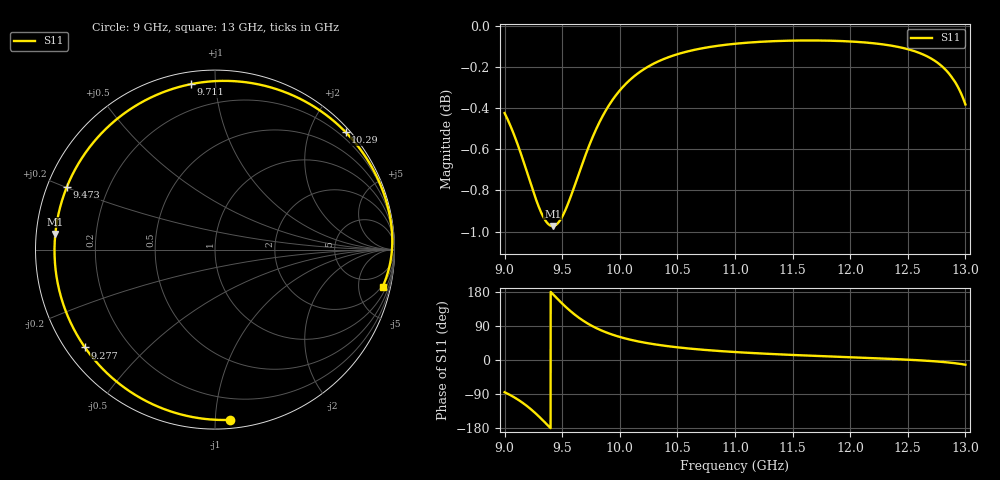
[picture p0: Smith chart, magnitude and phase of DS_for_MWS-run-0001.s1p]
! TOUCHSTONE file generated by CST DESIGN STUDIO
! Date and time: Tue Feb  4 13:34:31 2025
! Project name: C:\Work\MatlabApps\UnitCellOptimizationMatlab\CST\unitcell.cst
! Tree item: Tasks\Sweep1\SPara1\S-Parameters
! Header version: 2024
! Port assignment regex: !\s*Touchstone port\s*([0-9]+)\s*=\s*(CST MWS port|CST DES external port|CST DES block port)\s*(.+)\s* \(\"(.*)\"\)(\s*mode\s*([0-9]+))?.*
! Touchstone port assignment:
! Touchstone port 1 = CST DES external port 1 ("")
# GHz S MA R 50
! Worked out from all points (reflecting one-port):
!   4001 points, 9 GHz to 13 GHz, reference 50 ohm
!   lowest |S11| = -1.0 dB at 9.417 GHz (marker M1), VSWR 17.86, Z = 2.81 + j2.45 ohm
!   phase of S11 starts at -85 deg and turns -287 deg over the sweep
!   S11 on the Smith chart (normalised r, x): 9 GHz: 0.05, -1.09; 9.277 GHz: 0.05, -0.33; 9.473 GHz: 0.06, +0.20; 9.711 GHz: 0.06, +0.86; 10.29 GHz: 0.08, +2.60; 13 GHz: 1.80, -8.80
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9  0.9523 -85.0
9.082  0.9408 -98.2
9.151  0.9292 -111.7
9.215  0.9175 -126.6
9.277  0.9067 -143.1
9.35  0.8971 -164.7
9.384  0.8947 -175.3
9.417  0.894 174.4
9.473  0.8962 157.0
9.5  0.8987 148.9
9.551  0.9053 134.5
9.601  0.9133 121.7
9.654  0.9222 109.5
9.711  0.9316 98.2
9.774  0.941 87.5
9.85  0.9506 76.7
9.922  0.958 68.3
10  0.9645 60.8
10.133  0.9726 50.7
10.289  0.9789 42.0
10.5  0.9842 33.5
10.723  0.9876 27.0
11  0.99 21.0
11.5  0.9918 13.3
12  0.9913 7.3
12.5  0.987 0.9
12.79  0.978 -4.8
13  0.9569 -12.5
